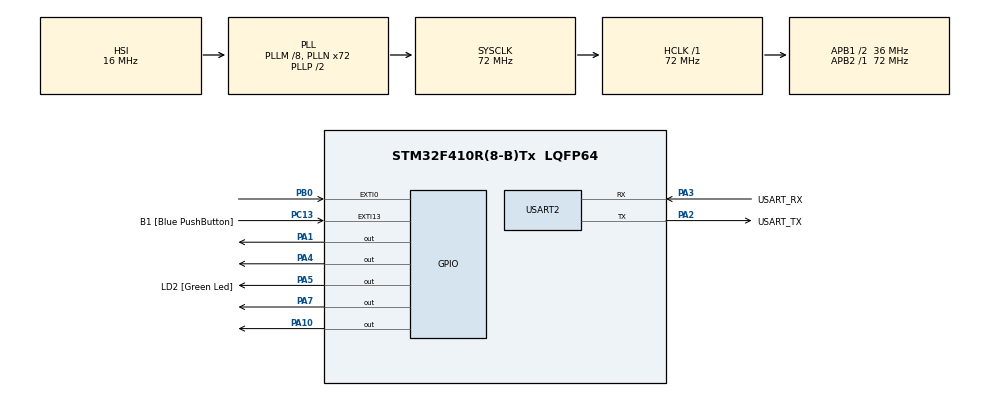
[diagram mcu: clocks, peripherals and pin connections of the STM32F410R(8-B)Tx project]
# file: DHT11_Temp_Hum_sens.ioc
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Mcu.Family=STM32F4
Mcu.Name=STM32F410R(8-B)Tx
Mcu.Package=LQFP64
NVIC.PriorityGroup=NVIC_PRIORITYGROUP_0
PA1.Signal=GPIO_Output
PA10.GPIO_ModeDefaultOutputPP=GPIO_MODE_OUTPUT_OD
PA10.GPIO_PuPd=GPIO_NOPULL
PA10.Signal=GPIO_Output
PA13.GPIO_Label=TMS
PA13.Mode=Serial_Wire
PA13.Signal=SYS_JTMS-SWDIO
PA14.GPIO_Label=TCK
PA14.Mode=Serial_Wire
PA14.Signal=SYS_JTCK-SWCLK
PA2.GPIO_Label=USART_TX
PA2.Mode=Asynchronous
PA2.Signal=USART2_TX
PA3.GPIO_Label=USART_RX
PA3.Mode=Asynchronous
PA3.Signal=USART2_RX
PA4.Signal=GPIO_Output
PA5.GPIO_Label=LD2 [Green Led]
PA5.Signal=GPIO_Output
PA7.Signal=GPIO_Output
PB0.Signal=GPXTI0
PB3.GPIO_Label=SWO
PB3.Signal=SYS_JTDO-SWO
PC13-ANTI_TAMP.GPIO_Label=B1 [Blue PushButton]
PC13-ANTI_TAMP.GPIO_ModeDefaultEXTI=GPIO_MODE_IT_FALLING
PC13-ANTI_TAMP.Signal=GPXTI13
PC14-OSC32_IN.Signal=RCC_OSC32_IN
PC15-OSC32_OUT.Signal=RCC_OSC32_OUT
PH0\ -\ OSC_IN.Mode=HSE-External-Oscillator
PH0\ -\ OSC_IN.Signal=RCC_OSC_IN
PH1\ -\ OSC_OUT.Mode=HSE-External-Oscillator
PH1\ -\ OSC_OUT.Signal=RCC_OSC_OUT
ProjectManager.HeapSize=0x200
ProjectManager.StackSize=0x400
ProjectManager.TargetToolchain=STM32CubeIDE
RCC.48MHZClocksFreq_Value=36000000
RCC.AHBFreq_Value=72000000
RCC.APB1CLKDivider=RCC_HCLK_DIV2
RCC.APB1Freq_Value=36000000
RCC.APB1TimFreq_Value=72000000
RCC.APB2Freq_Value=72000000
RCC.APB2TimFreq_Value=72000000
RCC.CortexFreq_Value=72000000
RCC.FLatency-AdvancedSettings=FLASH_LATENCY_2
RCC.HCLKFreq_Value=72000000
RCC.HSE_VALUE=8000000
RCC.HSI_VALUE=16000000
RCC.LSE_VALUE=32768
RCC.PLLM=8
RCC.PLLN=72
RCC.SYSCLKFreq_VALUE=72000000
RCC.SYSCLKSource=RCC_SYSCLKSOURCE_PLLCLK
RCC.VCOOutputFreq_Value=144000000
TIM1.Prescaler=71
USART2.VirtualMode=VM_ASYNC
VP_TIM1_VS_ClockSourceINT.Mode=Internal
board=NUCLEO-F410RB

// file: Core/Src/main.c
/* USER CODE BEGIN Header */
/**
  ******************************************************************************
  * @file           : main.c
  * @brief          : Main program body
  ******************************************************************************
  * @attention
  *
  * Copyright (c) 2024 STMicroelectronics.
  * All rights reserved.
  *
  * This software is licensed under terms that can be found in the LICENSE file
  * in the root directory of this software component.
  * If no LICENSE file comes with this software, it is provided AS-IS.
  *
  ******************************************************************************
  */
/* USER CODE END Header */
#include "main.h"
#include "stdio.h"
#include "stdlib.h"

TIM_HandleTypeDef htim1;

UART_HandleTypeDef huart2;

void SystemClock_Config(void);
static void MX_GPIO_Init(void);
static void MX_TIM1_Init(void);
static void MX_USART2_UART_Init(void);
/* USER CODE BEGIN PFP */
#ifdef __GNUC__
#define PUTCHAR_PROTOTYPE int __io_putchar(int ch)
#else
#define PUTCHAR_PROTOTYPE int fputc(int ch, FILE *f)
#endif

PUTCHAR_PROTOTYPE
{
  HAL_UART_Transmit(&huart2, (uint8_t *)&ch, 1, HAL_MAX_DELAY);
  return ch;
}
void delay(uint16_t time){

	__HAL_TIM_SET_COUNTER(&htim1,0);

	while(__HAL_TIM_GET_COUNTER(&htim1)< time);

}

void Set_Pin_Output(GPIO_TypeDef *GPIOx, uint16_t GPIO_Pin){

	GPIO_InitTypeDef DHT11_DATA={0};

	DHT11_DATA.Pin=GPIO_Pin;
	DHT11_DATA.Mode=GPIO_MODE_OUTPUT_PP;
	DHT11_DATA.Pull=GPIO_NOPULL;
	DHT11_DATA.Speed=GPIO_SPEED_FREQ_LOW;

	HAL_GPIO_Init(GPIOx,&DHT11_DATA);

}

void Set_Pin_Input(GPIO_TypeDef *GPIOx, uint16_t GPIO_Pin){

	GPIO_InitTypeDef DHT11_DATA={0};

	DHT11_DATA.Pin=GPIO_Pin;
	DHT11_DATA.Mode=GPIO_MODE_INPUT;
	DHT11_DATA.Pull=GPIO_NOPULL;
	DHT11_DATA.Speed=GPIO_SPEED_FREQ_LOW;

	HAL_GPIO_Init(GPIOx,&DHT11_DATA);

}

#define DHT11_PORT GPIOA
#define DHT11_PIN GPIO_PIN_1

uint8_t Reading=0,Humidity=0,Temperature=0;
uint16_t tempVal=0,humVal=0;
uint8_t dhtVal[2];
uint8_t mData[40];
uint16_t mTime1 = 0, mTime2 = 0;
uint16_t mbit = 0;
uint8_t  parityVal = 0, genParity = 0;

uint8_t DHT11_Read (){

  //for(int a=0;a<40;a++)
	int a=0; mData[a]=0;
   mTime1 = 0, mTime2 = 0, Reading=0, tempVal=0, humVal=0, parityVal = 0, genParity = 0,  mbit = 0;

     Set_Pin_Output(DHT11_PORT,DHT11_PIN);
	 HAL_GPIO_WritePin(DHT11_PORT,DHT11_PIN,GPIO_PIN_RESET);
    delay(18000);
   	Set_Pin_Input(DHT11_PORT,DHT11_PIN);

	 __HAL_TIM_SET_COUNTER(&htim1, 0);				//set timer counter to zero
	while(HAL_GPIO_ReadPin(DHT11_PORT, DHT11_PIN) == GPIO_PIN_SET) ;//if((uint16_t)__HAL_TIM_GET_COUNTER(&htim1) > 500) return 0;

	__HAL_TIM_SET_COUNTER(&htim1, 0);
	while(HAL_GPIO_ReadPin(DHT11_PORT, DHT11_PIN) == GPIO_PIN_RESET) ;//if((uint16_t)__HAL_TIM_GET_COUNTER(&htim1) > 500) return 0;
	mTime1 = (uint16_t)__HAL_TIM_GET_COUNTER(&htim1);

	__HAL_TIM_SET_COUNTER(&htim1, 0);
	while(HAL_GPIO_ReadPin(DHT11_PORT, DHT11_PIN) == GPIO_PIN_SET) ;//if((uint16_t)__HAL_TIM_GET_COUNTER(&htim1) > 500) return 0;
    mTime2 = (uint16_t)__HAL_TIM_GET_COUNTER(&htim1);

	if(mTime1 < 75 && mTime1 > 85 && mTime2 < 75 && mTime2 > 85)
	{

		return 0;
	}

	for(int j = 0; j < 40; j++)
	{
		__HAL_TIM_SET_COUNTER(&htim1, 0);
		while(HAL_GPIO_ReadPin(DHT11_PORT, DHT11_PIN) == GPIO_PIN_RESET) if((uint16_t)__HAL_TIM_GET_COUNTER(&htim1) > 500) return 0;
		__HAL_TIM_SET_COUNTER(&htim1, 0);
		while(HAL_GPIO_ReadPin(DHT11_PORT, DHT11_PIN) == GPIO_PIN_SET) if((uint16_t)__HAL_TIM_GET_COUNTER(&htim1) > 500) return 0;
		mTime1 = (uint16_t)__HAL_TIM_GET_COUNTER(&htim1);

		//check pass time in high state
		//if pass time 25uS set as LOW
		if(mTime1 > 20 && mTime1 < 30)
		{
			mbit = 0;
		}
		else if(mTime1 > 60 && mTime1 < 80) //if pass time 70 uS set as HIGH
		{
			 mbit = 1;
		}

		//set i th data in data buffer
		mData[j] = mbit;

	}

	//get hum value from data buffer
	for(int i = 0; i < 8; i++)
	{
		humVal += mData[i];
		humVal = humVal << 1;
	}

	//get temp value from data buffer
	for(int i = 16; i < 24; i++)
	{
		tempVal += mData[i];
		tempVal = tempVal << 1;
	}

	//get parity value from data buffer
	for(int i = 32; i < 40; i++)
	{
		parityVal += mData[i];
		parityVal = parityVal << 1;
	}

	parityVal = parityVal >> 1;
	humVal = humVal >> 1;
	tempVal = tempVal >> 1;

	genParity = humVal + tempVal;

	dhtVal[0]= tempVal;
	dhtVal[1] = humVal;

	return 1;
}

/* USER CODE END PFP */

/* USER CODE BEGIN 0 */

//void microDelay (uint16_t delay)
//{
//  __HAL_TIM_SET_COUNTER(&htim1, 0);
//  while (__HAL_TIM_GET_COUNTER(&htim1) < delay);

/* USER CODE END 0 */

int main(void)
{

  /* MCU Configuration--------------------------------------------------------*/

  /* Reset of all peripherals, Initializes the Flash interface and the Systick. */
  HAL_Init();

  /* Configure the system clock */
  SystemClock_Config();

  /* Initialize all configured peripherals */
  MX_GPIO_Init();
  MX_TIM1_Init();
  MX_USART2_UART_Init();
  /* USER CODE BEGIN 2 */
  HAL_TIM_Base_Start(&htim1);
  /* USER CODE END 2 */

  /* Infinite loop */
  /* USER CODE BEGIN WHILE */
  while (1)
  {
	Reading = DHT11_Read();
	      if (Reading ==1)	{
	    	  Temperature=tempVal;
	    	  Humidity=humVal;
	    	  printf("temp: %d    hum: %d \n",Temperature,Humidity);
	      }

	      HAL_Delay(1000);
    /* USER CODE END WHILE */

  }
}

void SystemClock_Config(void)
{
  RCC_OscInitTypeDef RCC_OscInitStruct = {0};
  RCC_ClkInitTypeDef RCC_ClkInitStruct = {0};

  /** Configure the main internal regulator output voltage
  */
  __HAL_RCC_PWR_CLK_ENABLE();
  __HAL_PWR_VOLTAGESCALING_CONFIG(PWR_REGULATOR_VOLTAGE_SCALE1);

  /** Initializes the RCC Oscillators according to the specified parameters
  * in the RCC_OscInitTypeDef structure.
  */
  RCC_OscInitStruct.OscillatorType = RCC_OSCILLATORTYPE_HSI;
  RCC_OscInitStruct.HSIState = RCC_HSI_ON;
  RCC_OscInitStruct.HSICalibrationValue = RCC_HSICALIBRATION_DEFAULT;
  RCC_OscInitStruct.PLL.PLLState = RCC_PLL_ON;
  RCC_OscInitStruct.PLL.PLLSource = RCC_PLLSOURCE_HSI;
  RCC_OscInitStruct.PLL.PLLM = 8;
  RCC_OscInitStruct.PLL.PLLN = 72;
  RCC_OscInitStruct.PLL.PLLP = RCC_PLLP_DIV2;
  RCC_OscInitStruct.PLL.PLLQ = 4;
  RCC_OscInitStruct.PLL.PLLR = 2;
  if (HAL_RCC_OscConfig(&RCC_OscInitStruct) != HAL_OK)
  {
    Error_Handler();
  }

  /** Initializes the CPU, AHB and APB buses clocks
  */
  RCC_ClkInitStruct.ClockType = RCC_CLOCKTYPE_HCLK|RCC_CLOCKTYPE_SYSCLK
                              |RCC_CLOCKTYPE_PCLK1|RCC_CLOCKTYPE_PCLK2;
  RCC_ClkInitStruct.SYSCLKSource = RCC_SYSCLKSOURCE_PLLCLK;
  RCC_ClkInitStruct.AHBCLKDivider = RCC_SYSCLK_DIV1;
  RCC_ClkInitStruct.APB1CLKDivider = RCC_HCLK_DIV2;
  RCC_ClkInitStruct.APB2CLKDivider = RCC_HCLK_DIV1;

  if (HAL_RCC_ClockConfig(&RCC_ClkInitStruct, FLASH_LATENCY_2) != HAL_OK)
  {
    Error_Handler();
  }
}

static void MX_TIM1_Init(void)
{

  TIM_ClockConfigTypeDef sClockSourceConfig = {0};
  TIM_MasterConfigTypeDef sMasterConfig = {0};

  htim1.Instance = TIM1;
  htim1.Init.Prescaler = 71;
  htim1.Init.CounterMode = TIM_COUNTERMODE_UP;
  htim1.Init.Period = 65535;
  htim1.Init.ClockDivision = TIM_CLOCKDIVISION_DIV1;
  htim1.Init.RepetitionCounter = 0;
  htim1.Init.AutoReloadPreload = TIM_AUTORELOAD_PRELOAD_DISABLE;
  if (HAL_TIM_Base_Init(&htim1) != HAL_OK)
  {
    Error_Handler();
  }
  sClockSourceConfig.ClockSource = TIM_CLOCKSOURCE_INTERNAL;
  if (HAL_TIM_ConfigClockSource(&htim1, &sClockSourceConfig) != HAL_OK)
  {
    Error_Handler();
  }
  sMasterConfig.MasterOutputTrigger = TIM_TRGO_RESET;
  sMasterConfig.MasterSlaveMode = TIM_MASTERSLAVEMODE_DISABLE;
  if (HAL_TIMEx_MasterConfigSynchronization(&htim1, &sMasterConfig) != HAL_OK)
  {
    Error_Handler();
  }

}

static void MX_USART2_UART_Init(void)
{

  huart2.Instance = USART2;
  huart2.Init.BaudRate = 115200;
  huart2.Init.WordLength = UART_WORDLENGTH_8B;
  huart2.Init.StopBits = UART_STOPBITS_1;
  huart2.Init.Parity = UART_PARITY_NONE;
  huart2.Init.Mode = UART_MODE_TX_RX;
  huart2.Init.HwFlowCtl = UART_HWCONTROL_NONE;
  huart2.Init.OverSampling = UART_OVERSAMPLING_16;
  if (HAL_UART_Init(&huart2) != HAL_OK)
  {
    Error_Handler();
  }

}

static void MX_GPIO_Init(void)
{
  GPIO_InitTypeDef GPIO_InitStruct = {0};

  /* GPIO Ports Clock Enable */
  __HAL_RCC_GPIOC_CLK_ENABLE();
  __HAL_RCC_GPIOH_CLK_ENABLE();
  __HAL_RCC_GPIOA_CLK_ENABLE();
  __HAL_RCC_GPIOB_CLK_ENABLE();

  /*Configure GPIO pin Output Level */
  HAL_GPIO_WritePin(GPIOA, GPIO_PIN_1|GPIO_PIN_4|LD2_Pin|GPIO_PIN_7
                          |GPIO_PIN_10, GPIO_PIN_RESET);

  /*Configure GPIO pin : B1_Pin */
  GPIO_InitStruct.Pin = B1_Pin;
  GPIO_InitStruct.Mode = GPIO_MODE_IT_FALLING;
  GPIO_InitStruct.Pull = GPIO_NOPULL;
  HAL_GPIO_Init(B1_GPIO_Port, &GPIO_InitStruct);

  /*Configure GPIO pins : PA1 PA4 LD2_Pin PA7 */
  GPIO_InitStruct.Pin = GPIO_PIN_1|GPIO_PIN_4|LD2_Pin|GPIO_PIN_7;
  GPIO_InitStruct.Mode = GPIO_MODE_OUTPUT_PP;
  GPIO_InitStruct.Pull = GPIO_NOPULL;
  GPIO_InitStruct.Speed = GPIO_SPEED_FREQ_LOW;
  HAL_GPIO_Init(GPIOA, &GPIO_InitStruct);

  /*Configure GPIO pin : PB0 */
  GPIO_InitStruct.Pin = GPIO_PIN_0;
  GPIO_InitStruct.Mode = GPIO_MODE_IT_RISING;
  GPIO_InitStruct.Pull = GPIO_NOPULL;
  HAL_GPIO_Init(GPIOB, &GPIO_InitStruct);

  /*Configure GPIO pin : PA10 */
  GPIO_InitStruct.Pin = GPIO_PIN_10;
  GPIO_InitStruct.Mode = GPIO_MODE_OUTPUT_OD;
  GPIO_InitStruct.Pull = GPIO_NOPULL;
  GPIO_InitStruct.Speed = GPIO_SPEED_FREQ_LOW;
  HAL_GPIO_Init(GPIOA, &GPIO_InitStruct);

}

void Error_Handler(void)
{
  __disable_irq();
  while (1)
  {
  }
}
